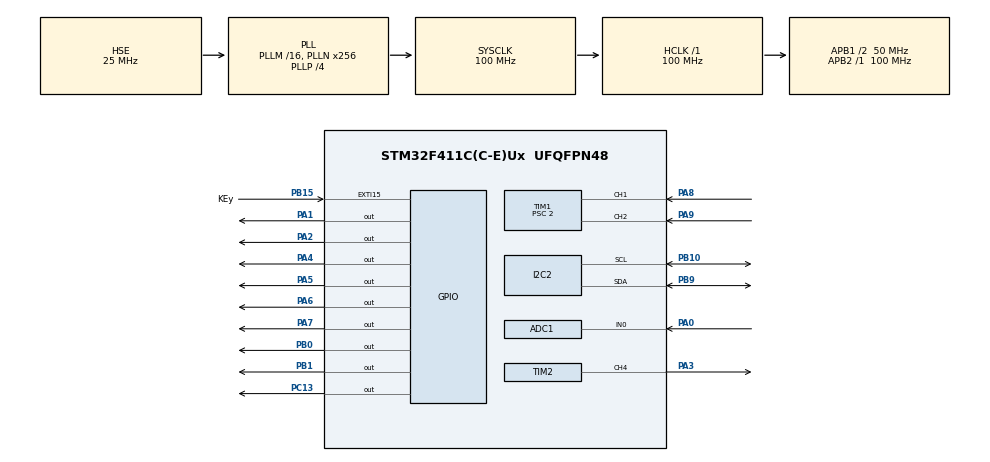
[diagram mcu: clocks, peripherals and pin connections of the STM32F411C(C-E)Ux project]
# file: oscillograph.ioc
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ADC1.Channel-0\#ChannelRegularConversion=ADC_CHANNEL_0
ADC1.DMAContinuousRequests=ENABLE
ADC1.ExternalTrigConv=ADC_EXTERNALTRIGCONV_T2_TRGO
ADC1.NbrOfConversionFlag=1
ADC1.Rank-0\#ChannelRegularConversion=1
ADC1.SamplingTime-0\#ChannelRegularConversion=ADC_SAMPLETIME_3CYCLES
ADC1.master=1
Dma.ADC1.0.Direction=DMA_PERIPH_TO_MEMORY
Dma.ADC1.0.FIFOMode=DMA_FIFOMODE_DISABLE
Dma.ADC1.0.Instance=DMA2_Stream0
Dma.ADC1.0.MemDataAlignment=DMA_MDATAALIGN_HALFWORD
Dma.ADC1.0.MemInc=DMA_MINC_ENABLE
Dma.ADC1.0.Mode=DMA_CIRCULAR
Dma.ADC1.0.PeriphDataAlignment=DMA_PDATAALIGN_HALFWORD
Dma.ADC1.0.PeriphInc=DMA_PINC_DISABLE
Dma.ADC1.0.Priority=DMA_PRIORITY_HIGH
Dma.Request0=ADC1
I2C2.I2C_Mode=I2C_Fast
Mcu.Family=STM32F4
Mcu.Name=STM32F411C(C-E)Ux
Mcu.Package=UFQFPN48
NVIC.ADC_IRQn=true\:0\:0\:false\:false\:true\:true\:true\:true
NVIC.DMA2_Stream0_IRQn=true\:1\:0\:true\:false\:true\:false\:true\:true
NVIC.EXTI15_10_IRQn=true\:4\:0\:true\:false\:true\:true\:true\:true
NVIC.PriorityGroup=NVIC_PRIORITYGROUP_4
NVIC.TIM2_IRQn=true\:2\:0\:true\:false\:true\:true\:true\:true
NVIC.TIM3_IRQn=true\:0\:0\:true\:false\:true\:true\:true\:true
PA0-WKUP.Signal=ADCx_IN0
PA1.Signal=GPIO_Output
PA13.Mode=JTAG_4_pins
PA13.Signal=SYS_JTMS-SWDIO
PA14.Mode=JTAG_4_pins
PA14.Signal=SYS_JTCK-SWCLK
PA15.Mode=JTAG_4_pins
PA15.Signal=SYS_JTDI
PA2.Signal=GPIO_Output
PA3.Signal=S_TIM2_CH4
PA4.Signal=GPIO_Output
PA5.Signal=GPIO_Output
PA6.Signal=GPIO_Output
PA7.Signal=GPIO_Output
PA8.Signal=S_TIM1_CH1
PA9.Signal=S_TIM1_CH2
PB0.Signal=GPIO_Output
PB1.Signal=GPIO_Output
PB10.Mode=I2C
PB10.Signal=I2C2_SCL
PB15.GPIO_Label=KEy
PB15.Signal=GPXTI15
PB3.Mode=JTAG_4_pins
PB3.Signal=SYS_JTDO-SWO
PB9.Mode=I2C
PB9.Signal=I2C2_SDA
PC13-ANTI_TAMP.Signal=GPIO_Output
PH0\ -\ OSC_IN.Mode=HSE-External-Oscillator
PH0\ -\ OSC_IN.Signal=RCC_OSC_IN
PH1\ -\ OSC_OUT.Mode=HSE-External-Oscillator
PH1\ -\ OSC_OUT.Signal=RCC_OSC_OUT
ProjectManager.HeapSize=0x200
ProjectManager.StackSize=0x400
ProjectManager.TargetToolchain=MDK-ARM V5.32
RCC.48MHZClocksFreq_Value=100000000
RCC.AHBFreq_Value=100000000
RCC.APB1CLKDivider=RCC_HCLK_DIV2
RCC.APB1Freq_Value=50000000
RCC.APB1TimFreq_Value=100000000
RCC.APB2Freq_Value=100000000
RCC.APB2TimFreq_Value=100000000
RCC.CortexFreq_Value=100000000
RCC.HCLKFreq_Value=100000000
RCC.HSE_VALUE=25000000
RCC.HSI_VALUE=16000000
RCC.LSE_VALUE=32768
RCC.PLLN=256
RCC.PLLP=RCC_PLLP_DIV4
RCC.PLLSourceVirtual=RCC_PLLSOURCE_HSE
RCC.SYSCLKFreq_VALUE=100000000
RCC.SYSCLKSource=RCC_SYSCLKSOURCE_PLLCLK
RCC.VCOOutputFreq_Value=400000000
SH.ADCx_IN0.0=ADC1_IN0,IN0
SH.S_TIM1_CH1.0=TIM1_CH1,Encoder_Interface
SH.S_TIM1_CH2.0=TIM1_CH2,Encoder_Interface
SH.S_TIM2_CH4.0=TIM2_CH4,PWM Generation4 CH4
TIM1.EncoderMode=TIM_ENCODERMODE_TI1
TIM1.IC1Filter=15
TIM1.IC2Filter=15
TIM1.IC2Polarity=TIM_ICPOLARITY_FALLING
TIM1.Prescaler=2
TIM2.AutoReloadPreload=TIM_AUTORELOAD_PRELOAD_ENABLE
TIM2.Channel-PWM\ Generation4\ CH4=TIM_CHANNEL_4
TIM2.Prescaler=9
TIM2.Pulse-PWM\ Generation4\ CH4=500
TIM2.TIM_MasterOutputTrigger=TIM_TRGO_UPDATE
TIM3.Prescaler=0
VP_TIM2_VS_ClockSourceINT.Mode=Internal
VP_TIM3_VS_ClockSourceINT.Mode=Internal
board=custom

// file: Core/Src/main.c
/* USER CODE BEGIN Header */
/**
  ******************************************************************************
  * @file           : main.c
  * @brief          : Main program body
  ******************************************************************************
  * @attention
  *
  * Copyright (c) 2025 STMicroelectronics.
  * All rights reserved.
  *
  * This software is licensed under terms that can be found in the LICENSE file
  * in the root directory of this software component.
  * If no LICENSE file comes with this software, it is provided AS-IS.
  *
  ******************************************************************************
  */
/* USER CODE END Header */
#include "main.h"
#include "adc.h"
#include "dma.h"
#include "i2c.h"
#include "tim.h"
#include "gpio.h"

/* USER CODE BEGIN Includes */
#include "oled.h"
#include "math.h"
#include "string.h"
/* USER CODE END Includes */

/* USER CODE BEGIN PD */
#define UPDATE_RATE 10000UL  // 采样率 10kHz
// 全局变量：相位累加器和正弦波频率（单位 Hz）
volatile double phase = 0.0;
volatile int counter = 0;
volatile double sineFrequency = 1000.0;  // 正弦波频率，初始为 1 kHz
const double timeStep = 1.0 / UPDATE_RATE;  // 每个采样点的时间间隔（秒）
#define ADC_BUFFER_SIZE 1024                 //别改这里 25/3/4/1414：改了好像也可以
#define SINE_TABLE_SIZE 128
volatile uint16_t adcBuffer[ADC_BUFFER_SIZE]; // DMA数据缓冲区,每半缓冲区绘制一次图
volatile uint8_t table[4][SINE_TABLE_SIZE]={0};//正弦表
uint16_t temp_buf[ADC_BUFFER_SIZE / 2] = {0};
volatile uint16_t adcValue = 0;
volatile int flag_halfbuf = 0;
volatile int flag_fullbuf = 0;	//半满/全满标志位
volatile uint8_t mod_0 = 0;
volatile uint8_t mod_1 = 0;		//零级选择与一级选择。零级选择对应旋转编码器按动；一级选择对应旋转。
uint8_t horizontal_multiplier = 1;//水平缩放系数
uint8_t vertical_multiplier = 1;//垂直缩放系数
float amp = 1;	//发波幅度系数
uint8_t wave_form = 0;	//波形
uint8_t stat = 0; //状态，存储切出时mod_1的值。下次切入时将值给到mod_1
#define SAMPLE_RATE 1000    // 如需 1000Hz，请改为 1000

#if SAMPLE_RATE == 500		//别太高 25/3/4/1843：好像高点也可以
  #define TIM_PERIOD (2000 - 1)  // 2ms 周期（假设定时器时钟为 1MHz）现在配置为10MHz
#elif SAMPLE_RATE == 1000
  #define TIM_PERIOD (1000 - 1)  // 1ms 周期
#else
  #error "采样率仅支持 500 或 1000Hz"
#endif
#define ADC_MAX_VALUE 4095
#define OLED_WIDTH    128
#define OLED_HEIGHT   64
#define M_PI 3.14159
#define GRID_TOP       8
#define GRID_BOTTOM    63
#define GRID_CELL_SIZE 8   //绘制网格
/* USER CODE END PD */

void SystemClock_Config(void);
/* USER CODE BEGIN PFP */
float ProcessADCData(volatile uint16_t* data, uint32_t length);
void DisplayHalfBuffer(volatile uint16_t *halfBuffer, uint32_t length);
float CalculateFrequency(volatile uint16_t *adcBuffer, size_t buf_size, float mean);
/* USER CODE END PFP */

/* USER CODE BEGIN 0 */
/**
  * @brief DMA Half Transfer 完成回调函数.
  * 当 DMA 将数据传输至 adcBuffer 一半时调用
  */
void HAL_ADC_ConvHalfCpltCallback(ADC_HandleTypeDef* hadc)
{
	flag_halfbuf = 1;
}

/**
  * @brief DMA Transfer Complete 完成回调函数.
  * 当 DMA 将数据传输完 adcBuffer 时调用
  */
void HAL_ADC_ConvCpltCallback(ADC_HandleTypeDef* hadc)
{
	if (flag_fullbuf != 1) memcpy(&temp_buf[0],&adcBuffer[0],ADC_BUFFER_SIZE); //保护现场
	flag_fullbuf = 1;
}
/**
  * @brief 处理采集的 ADC 数据
  * @param data: 处理数据的起始地址
  * @param length: 数据的长度
  */
float ProcessADCData(volatile uint16_t* data, uint32_t length)
{
  uint32_t sum = 0;
  for (uint32_t i = 0; i < length; i++)
  {
    sum += data[i];
//		OLED_ShowNum(0,0,data[i],4,2);
////		HAL_Delay(100);
//		OLED_ShowStr(0,0,"    ",1);
  }
  float avg = sum / length;
//	OLED_ShowStr(0,0,"     ",1);
//	OLED_ShowStr(55,0,"            ",1);
	//
  // 后续处理：例如通过UART发送、存入全局变量等
	return avg;
}

void DisplayHalfBuffer(volatile uint16_t *halfBuffer, uint32_t length)//传入任意长度和起始位置均可
{
//		uint8_t x, y;
//    uint32_t samplesPerPixel;

//    // 根据输入长度决定每列对应的数据点个数
//    if (length < OLED_WIDTH)
//    {
//        samplesPerPixel = 1;
//    }
//    else
//    {
//        // 当长度为 OLED_WIDTH 的倍数时，每列显示 length/OLED_WIDTH 个数据
//        samplesPerPixel = length / OLED_WIDTH;
//    }

//    // 如有需要，首先清除显示区域和 OLED 缓冲区
//    ClearRectangleStr();
////		OLED_CLS();
//    OLED_ClearBuffer();

//
//    // =====================================================
//    // 抽样显示数据
//    // =====================================================
//    for (x = 0; x < OLED_WIDTH; x++)
//    {
//        // 计算本列样本在缓冲区中的索引
//        uint32_t index = x * samplesPerPixel;
//        if (index >= length)
//        {
//            index = length - 1;
//        }

//        // 将 ADC 数据映射到 y 坐标：
//        // 1. 首先将 ADC 数据按比例缩放到 0 ~ (OLED_HEIGHT - 1 - 8) 范围内（预留顶部 8 行）
//        // 2. 然后 y 坐标翻转：OLED 顶部为 8 像素，底部为 OLED_HEIGHT-1
//        y = (halfBuffer[index] * (OLED_HEIGHT - 1 - 8)) / ADC_MAX_VALUE;
//        //y = (OLED_HEIGHT - 1) - y;
//
//        // 绘制该采样对应的点
//        OLED_DrawWave(x, y); //使用这个方法不用反转坐标
//    }
		uint8_t x, y;

    // 清除显示区域和 OLED 缓冲区
    ClearRectangleStr();
    OLED_ClearBuffer();

    if (length == 0)
    {
        return; // 处理长度为0的情况，避免除以零
    }

    // 遍历每一列
    for (x = 0; x < OLED_WIDTH; x++)
    {
        // 计算当前列对应的数据点索引（线性插值）
        uint32_t index = ( (uint32_t)x * (length - 1) ) / (OLED_WIDTH - 1);

        // 确保索引不越界
        if (index >= length)
        {
            index = length - 1;
        }

        // 将 ADC 值映射到 Y 轴坐标（预留顶部8像素）
        y = (halfBuffer[index] * (OLED_HEIGHT - 1 - 8)) / ADC_MAX_VALUE;
				y = (y-27)*vertical_multiplier + 27;
				if (y > 255) y = 0;
				else if (y > 55) y = 55;
        // 绘制波形点
        OLED_DrawWave(x, y);
    }
		// =====================================================
    // 绘制正方形网格
    // =====================================================

    // 绘制一条水平网格线（例如在 y = 35 像素处）
    for (x = 0; x < OLED_WIDTH; x++)
    {
        OLED_DrawPixel(x, 35);
    }

    // 绘制其他水平网格线，每 GRID_CELL_SIZE 个像素绘制 1 条
    for (y = GRID_TOP; y <= GRID_BOTTOM; y += GRID_CELL_SIZE)
    {
        for (x = 0; x < OLED_WIDTH; x++)
        {
            if (x % 8 == 0)
            {
                OLED_DrawPixel(x, y);
            }
        }
    }

    // 绘制垂直网格线，每 GRID_CELL_SIZE 个像素绘制
    for (x = 0; x < OLED_WIDTH; x += GRID_CELL_SIZE)
    {
        // 此处例如只对 x 为 32 的倍数的列绘制完整的垂直线
        if (x % 32 == 0)
        {
            for (y = GRID_TOP; y <= GRID_BOTTOM; y++)
            {
                OLED_DrawPixel(x, y);
            }
        }
    }

		// 如有屏幕刷新函数，可在此调用（例如 OLED_UpdateScreen() 或 OLED_UpdatePage()）
    // 例如：OLED_UpdatePage();

    // 以下为测试用：切换指示灯状态
    //HAL_GPIO_TogglePin(GPIOC,GPIO_PIN_13);  // 参数根据实际情况填写
}
void Write_DAC(uint8_t value) {
    // 假定使用 GPIOB 的低8位（即 PB0 ~ PB7）这一部分需要重写
    // 先清除低8位，再写入 value
    //GPIOB->ODR = (GPIOB->ODR & 0xFF00) | value;
	// 输出位 0 到 GPIOA, PA1
    HAL_GPIO_WritePin(GPIOA, GPIO_PIN_1, (value & (1 << 0)) ? GPIO_PIN_SET : GPIO_PIN_RESET);

    // 输出位 1 到 GPIOA, PA2
    HAL_GPIO_WritePin(GPIOA, GPIO_PIN_2, (value & (1 << 1)) ? GPIO_PIN_SET : GPIO_PIN_RESET);

    // 输出位 2 到 GPIOA, PA3
    HAL_GPIO_WritePin(GPIOA, GPIO_PIN_4, (value & (1 << 2)) ? GPIO_PIN_SET : GPIO_PIN_RESET);

    // 输出位 3 到 GPIOA, PA4
    HAL_GPIO_WritePin(GPIOA, GPIO_PIN_5, (value & (1 << 3)) ? GPIO_PIN_SET : GPIO_PIN_RESET);

    // 输出位 4 到 GPIOA, PA5
    HAL_GPIO_WritePin(GPIOA, GPIO_PIN_6, (value & (1 << 4)) ? GPIO_PIN_SET : GPIO_PIN_RESET);

    // 输出位 5 到 GPIOA, PA6
    HAL_GPIO_WritePin(GPIOA, GPIO_PIN_7, (value & (1 << 5)) ? GPIO_PIN_SET : GPIO_PIN_RESET);

    // 输出位 6 到 GPIOA, PA7
    HAL_GPIO_WritePin(GPIOB, GPIO_PIN_0, (value & (1 << 6)) ? GPIO_PIN_SET : GPIO_PIN_RESET);

    // 输出位 7 到 GPIOB, PB0
    HAL_GPIO_WritePin(GPIOB, GPIO_PIN_1, (value & (1 << 7)) ? GPIO_PIN_SET : GPIO_PIN_RESET);
}

void HAL_TIM_PeriodElapsedCallback(TIM_HandleTypeDef *htim)
{
  if(htim->Instance == TIM2)
  {

  }
	else if (htim->Instance == TIM3) {
//        //清除中断标志位
//
//				//HAL_GPIO_TogglePin(GPIOC,GPIO_PIN_13);
//        // 计算当前正弦值
//        double sineValue = sin(phase);  // 范围为 -1 到 +1
//        // 映射到 0～255
//        uint8_t dacValue = (uint8_t)(((sineValue + 1.0) / 2.0) * 255.0);

//        // 输出到 DAC（GPIO）
//        Write_DAC(dacValue);

//        // 更新相位：每个采样点相位增量 = 2π * sineFrequency * timeStep
//        phase += 2.0 * M_PI * sineFrequency * timeStep;
//        if (phase >= 2.0 * M_PI) {
//            phase -= 2.0 * M_PI;
//        }
//			}
					// 根据当前 phase 计算查找表的索引
        // phase范围：[0,2π), 对应查找表索引：[0, SINE_TABLE_SIZE-1]
        uint16_t tableIndex = (uint16_t)(phase * SINE_TABLE_SIZE / (2.0 * M_PI));

        // 保险检查：确保索引在合理范围内
        if (tableIndex >= SINE_TABLE_SIZE)
        {
            tableIndex = 0;
        }

        // 从查找表中读取预计算的正弦值（已映射至 0-255）
        uint8_t dacValue = table[wave_form % 4][tableIndex];

        // 输出到 DAC
        Write_DAC((uint8_t)((dacValue - 127) * amp + 127));

        // 更新相位：每个采样周期内增加的相位增量为 2π * sineFrequency * timeStep
        phase += 2.0 * M_PI * sineFrequency * timeStep;
        if (phase >= 2.0 * M_PI)
        {
            phase -= 2.0 * M_PI;
        }
			}
}
/**
 * @brief 绘制正弦波形的测试函数
 *
 * 该函数在 OLED 显示屏上绘制一个完整周期的正弦波形：
 * - 振幅取 OLED_HEIGHT/4
 * - 波形中心线位于屏幕中间
 * - 水平方向上正弦波运动一个完整周期
 */
void DrawSineWave(void)
{
    int x, y;
    double amplitude = (double)OLED_HEIGHT / 2.0;  // 振幅
    double center = (double)OLED_HEIGHT / 2.0;       // 中心线

    for (x = 0; x < OLED_WIDTH; x++)
    {
        // angle 计算：使得 x 遍历时正弦波运动一个完整周期
        double angle = ((double)x / OLED_WIDTH) * 8 * M_PI;
        // 根据正弦公式计算 y 坐标，并加上中心偏移
        y = (int)(center + amplitude * sin(angle));
        // 绘制像素
        OLED_DrawWave(x, y);
				//HAL_Delay(100);
    }
}

float CalculateFrequency(volatile uint16_t *temp_buf, size_t buf_size, float mean)
{
    uint32_t firstTimestamp = 0;      // 第一次过零时的时间戳
    uint32_t previousTimestamp = 0;   // 上一次过零的时间戳
    uint32_t cumulativeInterval = 0;  // 累计相邻两个过零之间的时间间隔(ms)
    uint16_t crossingCount = 0;       // 过零点计数
    // 遍历 ADC 数据缓冲区，寻找过零点（从低于均值跃升到大于等于均值）
    for (size_t i = 1; i < buf_size; i++)
    {
        if ((temp_buf[i - 1] < mean) && (temp_buf[i] >= mean ))
        {
            // 当检测到过零点时，马上通过 HAL 库获取当前内核时间戳（单位 ms）
            uint32_t currentTimestamp = i;

            if (crossingCount == 0)
            {
                // 第一次检测到过零点，记录时间戳
                firstTimestamp = currentTimestamp;
            }
            else
            {
                // 累计相邻两个过零之间的时间差
                cumulativeInterval += (currentTimestamp - previousTimestamp);
            }

            // 更新上一个过零点的时间戳，并计数
            previousTimestamp = currentTimestamp;
            crossingCount++;
        }
    }

    float frequency = 0.0f;

    // 至少需要 2 个过零点来计算周期（即至少一个完整周期的采样间隔）
    if (crossingCount > 1)
    {
        // 计算平均周期，注意累计的时间间隔个数为 crossingCount - 1
        uint32_t averagePeriod_ms = cumulativeInterval / (crossingCount - 1); //采样间隔0.1ms
        // 将周期转换为秒
        float period_sec = averagePeriod_ms / 10000.0f;
        // 计算频率 (Hz)
        frequency = 1.0f / period_sec;
    }
    else
    {
        // 如果过零点不足，无法计算正确频率，可返回 0 或用于错误处理
        frequency = 0.0f;
    }

    return frequency;
}

void HAL_GPIO_EXTI_Callback(uint16_t GPIO_Pin)
{
		mod_1 = 1;
		HAL_GPIO_TogglePin(GPIOC,GPIO_PIN_13);
		mod_0++; //一级模式变量赋值
		//模式1：水平调节
		//模式2：垂直调节
		//模式3：输出波形调节
		//模式4：输出频率调节
		//模式5：输出幅度调节
		if(mod_0 % 5 == 2 || mod_0 % 5 ==4){
		mod_1 = stat; //模式3,5时存储状态值
		}
		else stat = 0; //重置stat
		__HAL_TIM_SET_COUNTER(&htim1,0);
}
/* USER CODE END 0 */

int main(void)
{

  /* USER CODE BEGIN 1 */
	float mean = 0;										// 用于频率计算
	float freq = 0;
  /* USER CODE END 1 */

  /* MCU Configuration--------------------------------------------------------*/

  /* Reset of all peripherals, Initializes the Flash interface and the Systick. */
  HAL_Init();

  /* Configure the system clock */
  SystemClock_Config();

  /* USER CODE BEGIN SysInit */
	//htim2.Init.Period = TIM_PERIOD;
  /* USER CODE END SysInit */

  /* Initialize all configured peripherals */
  MX_GPIO_Init();
  MX_DMA_Init();
  MX_ADC1_Init();
  MX_TIM2_Init();
  MX_I2C2_Init();
  MX_TIM3_Init();
  MX_TIM1_Init();
  /* USER CODE BEGIN 2 */
	HAL_TIM_Encoder_Start(&htim1,TIM_CHANNEL_ALL);
	int count = 0;
	for (int i = 0; i < SINE_TABLE_SIZE; i++) {
        // 计算当前角度：将 0～2π 均分 64 个点
        double angle = 2.0 * M_PI * i / SINE_TABLE_SIZE;
        // 计算正弦值，范围：-1 ~ 1
        double sineValue = sin(angle);
        // 映射到 0～255，请注意对浮点值进行四舍五入处理
        double mappedValue = (sineValue + 1.0) / 2.0 * 255.0;
        table[0][i] = (uint8_t)(mappedValue + 0.5);
				double tri_value = 1.0 - 4.0 * fabs((double)i / SINE_TABLE_SIZE - 0.5);

        // 映射到0-255并四舍五入
        double mapped = (tri_value + 1.0) * (255.0 / 2.0);
        table[1][i] = (uint8_t)(mapped + 0.5);  // 加0.5实现四舍五入
				table[2][i] = (1 - i*2/(SINE_TABLE_SIZE)) * 255;
				table[3][i] = 255;  //直流
    }
	htim2.Init.Period = TIM_PERIOD;
	HAL_TIM_Base_Init(&htim2);//配置TIM2参数
	uint32_t period = (100000000 / UPDATE_RATE) - 1;
  htim3.Init.Period = period;
	sineFrequency = 100;
	HAL_TIM_Base_Init(&htim3);//配置TIM3周期
	if (HAL_TIM_Base_Start(&htim2) != HAL_OK)
  {
    Error_Handler();
  }//启动TIM2
	if (HAL_TIM_Base_Start(&htim3) != HAL_OK)
  {
    Error_Handler();
  }//启动TIM3

//	//暂时考虑使用u8g2库完成绘图 1/28:u8g2有部分存在问题，暂时弃用 2/8:移除u8g2
	OLED_Init();
	OLED_ON();
	OLED_CLS();
	OLED_ShowStr(0,0,"22211133",1);
	OLED_ShowStr(0,1,"School of ECE",1);
	OLED_ShowStr(0,2,"Wu Qianhan",1);
	OLED_ShowStr(0,3,"Pocket Instrument",1);//这一部分代码没有问题，另外：不要在注释里打//
	HAL_GPIO_WritePin(GPIOC,GPIO_PIN_13,GPIO_PIN_RESET);
	HAL_Delay(3000);
	OLED_CLS();
	DrawSineWave();
	HAL_Delay(1000);
	OLED_CLS();//自检
	HAL_Delay(1000);
	OLED_CLS();
	HAL_TIM_Base_Start_IT(&htim3);
	__HAL_TIM_ENABLE_IT(&htim3, TIM_IT_UPDATE);
	HAL_Delay(0);
	/* 启动 ADC 的 DMA 模式，在循环模式下自动将转换结果传送到 adcBuffer */
	if (HAL_ADC_Start_DMA(&hadc1, (uint32_t *)adcBuffer, ADC_BUFFER_SIZE) != HAL_OK)
	{
		Error_Handler();
	}

	//HAL_Delay(1000);
//	for (int i = 0; i<256 ;i++)
//	{
//		Write_DAC(i);
//		HAL_Delay(1);
//	}
		int temp = 0;
		int value = 0;
		int count_0 = 0;
  /* USER CODE END 2 */

  /* Infinite loop */
  /* USER CODE BEGIN WHILE */
  while (1)
  {
		//HAL_GPIO_TogglePin(GPIOC,GPIO_PIN_13);
		if(flag_halfbuf == 1 && 0){
			/* 处理缓冲区前半部分的数据 */
			DisplayHalfBuffer(&adcBuffer[0],ADC_BUFFER_SIZE / 2);
//  	ProcessADCData(&adcBuffer[0], ADC_BUFFER_SIZE / 2);
			flag_halfbuf = 0;
		}
		else if(flag_fullbuf == 1){
			/* 处理缓冲区后半部分的数据 */
			DisplayHalfBuffer(&temp_buf[0],(ADC_BUFFER_SIZE / 2)/horizontal_multiplier);
			mean = ProcessADCData(&temp_buf[0], ADC_BUFFER_SIZE / 2);
			OLED_ShowFloat(50,0,mean * 3.3 /4096 ,1,2,2); //显示平均值
			freq = CalculateFrequency(&temp_buf[0],ADC_BUFFER_SIZE / 2, mean);
			OLED_ShowFloat(0,0,freq,4,2,2);
			flag_fullbuf = 0;
		}

		//读取旋转编码器值
		count = __HAL_TIM_GET_COUNTER(&htim1);
		//二级模式变量赋值
		if (count_0 < count){
			mod_1++;
			count_0 = count;
		}
		else if(count_0 > count){
			mod_1--;
			count_0 = count;
		}
		else{
			mod_1 = mod_1;
		}
		if(mod_1<1) mod_1 = 1;

		if(mod_0 % 5 == 0){//当工作在模式1
				OLED_ShowStr(80,0,"hor",1);
				horizontal_multiplier = mod_1;
				if(horizontal_multiplier > 32){
					horizontal_multiplier = 32;
				}
				else if(horizontal_multiplier <= 1){
					horizontal_multiplier = 1;
				}
			}
		else if(mod_0 % 5 == 1){
				OLED_ShowStr(80,0,"ver",1);
				OLED_ShowNum(110,0,vertical_multiplier,2,2);
				vertical_multiplier = mod_1;
		}
		else if(mod_0 % 5 == 2){
				wave_form = mod_1 % 4 - 1;
				OLED_ShowStr(80,0,"wav",1);
				if(wave_form >= 3 ) wave_form = 3;
				OLED_ShowNum(110,0,wave_form,1,1);

//				if (mod_1 != wave_form) wave_form = mod_1 % 4 - 1;
//				if(wave_form > 3) wave_form = 3;
//				else if(wave_form > 250) wave_form = 0;
				stat = mod_1;
		}
		else if(mod_0 % 5 == 3){
				OLED_ShowStr(74,0,"freq",1);
				int deltaFreq = __HAL_TIM_GET_COUNTER(&htim1);
				if	(deltaFreq > 60000) {
					deltaFreq = 65535-deltaFreq;
					sineFrequency -= deltaFreq;
				}
				else if(deltaFreq < 5000){
					sineFrequency += deltaFreq;
				}
				OLED_ShowFloat(100,0,sineFrequency,4,0,2);
		}
		else if(mod_0 % 5 ==4){
				OLED_ShowStr(80,0,"amp",1);
				OLED_ShowFloat(100,0,amp,1,2,2);
				int deltaAmp = __HAL_TIM_GET_COUNTER(&htim1);
				if	(deltaAmp > 60000) {
					deltaAmp = 65535-deltaAmp;
					amp -= 0.1*deltaAmp;
				}
				else if(deltaAmp < 5000){
					amp += 0.1*deltaAmp;
				}
		}
		HAL_Delay(100);
		//OLED_ShowNum(0,0,count,5,2);
		//旋转编码器测试代码
    /* USER CODE END WHILE */

  }
}

void SystemClock_Config(void)
{
  RCC_OscInitTypeDef RCC_OscInitStruct = {0};
  RCC_ClkInitTypeDef RCC_ClkInitStruct = {0};

  /** Configure the main internal regulator output voltage
  */
  __HAL_RCC_PWR_CLK_ENABLE();
  __HAL_PWR_VOLTAGESCALING_CONFIG(PWR_REGULATOR_VOLTAGE_SCALE1);

  /** Initializes the RCC Oscillators according to the specified parameters
  * in the RCC_OscInitTypeDef structure.
  */
  RCC_OscInitStruct.OscillatorType = RCC_OSCILLATORTYPE_HSE;
  RCC_OscInitStruct.HSEState = RCC_HSE_ON;
  RCC_OscInitStruct.PLL.PLLState = RCC_PLL_ON;
  RCC_OscInitStruct.PLL.PLLSource = RCC_PLLSOURCE_HSE;
  RCC_OscInitStruct.PLL.PLLM = 16;
  RCC_OscInitStruct.PLL.PLLN = 256;
  RCC_OscInitStruct.PLL.PLLP = RCC_PLLP_DIV4;
  RCC_OscInitStruct.PLL.PLLQ = 4;
  if (HAL_RCC_OscConfig(&RCC_OscInitStruct) != HAL_OK)
  {
    Error_Handler();
  }

  /** Initializes the CPU, AHB and APB buses clocks
  */
  RCC_ClkInitStruct.ClockType = RCC_CLOCKTYPE_HCLK|RCC_CLOCKTYPE_SYSCLK
                              |RCC_CLOCKTYPE_PCLK1|RCC_CLOCKTYPE_PCLK2;
  RCC_ClkInitStruct.SYSCLKSource = RCC_SYSCLKSOURCE_PLLCLK;
  RCC_ClkInitStruct.AHBCLKDivider = RCC_SYSCLK_DIV1;
  RCC_ClkInitStruct.APB1CLKDivider = RCC_HCLK_DIV2;
  RCC_ClkInitStruct.APB2CLKDivider = RCC_HCLK_DIV1;

  if (HAL_RCC_ClockConfig(&RCC_ClkInitStruct, FLASH_LATENCY_3) != HAL_OK)
  {
    Error_Handler();
  }
}

void Error_Handler(void)
{
  /* USER CODE BEGIN Error_Handler_Debug */
  /* User can add his own implementation to report the HAL error return state */
  __disable_irq();
  while (1)
  {
		HAL_GPIO_WritePin(GPIOC,GPIO_PIN_13,GPIO_PIN_SET);
  }
  /* USER CODE END Error_Handler_Debug */
}
